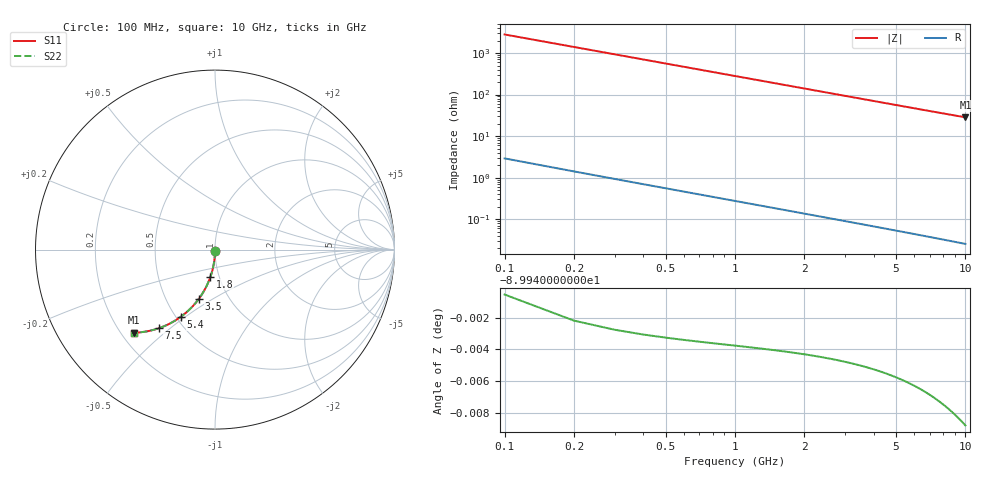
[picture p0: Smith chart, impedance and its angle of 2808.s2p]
# Hz S RI R 50.00
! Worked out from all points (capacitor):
!   100 points, 100 MHz to 10 GHz, reference 50 ohm
!   read as one part in shunt: C = 568 fF near 100 MHz
!   lowest |Z| = 28.3 ohm at 10 GHz (marker M1)
!   S11 on the Smith chart (normalised r, x): 100 MHz: 1.00, -0.02; 1.8 GHz: 0.91, -0.28; 3.5 GHz: 0.73, -0.43; 5.4 GHz: 0.53, -0.48; 7.5 GHz: 0.37, -0.46; 10 GHz: 0.25, -0.40
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1e8  1e-05 -0.00859  0.9998 -0.00926  0.9998 -0.00926  1e-05 -0.00859
2e8  -0.000237 -0.0172  0.9996 -0.0185  0.9996 -0.0185  -0.000237 -0.0172
3e8  -0.000643 -0.0258  0.9992 -0.0278  0.9992 -0.0278  -0.000643 -0.0258
4e8  -0.00121 -0.0343  0.9986 -0.037  0.9986 -0.037  -0.00121 -0.0343
5e8  -0.00193 -0.0429  0.9979 -0.0462  0.9979 -0.0462  -0.00193 -0.0429
6e8  -0.00281 -0.0514  0.997 -0.0554  0.997 -0.0554  -0.00281 -0.0514
8e8  -0.00504 -0.0684  0.9947 -0.0738  0.9947 -0.0738  -0.00504 -0.0684
1.1e9  -0.00954 -0.0936  0.9902 -0.101  0.9902 -0.101  -0.00954 -0.0936
1.4e9  -0.0154 -0.1185  0.9843 -0.1279  0.9843 -0.1279  -0.0154 -0.1185
1.8e9  -0.0253 -0.1508  0.9745 -0.1629  0.9745 -0.1629  -0.0253 -0.1508
2.1e9  -0.0341 -0.1743  0.9656 -0.1884  0.9656 -0.1884  -0.0341 -0.1743
2.5e9  -0.0477 -0.2046  0.952 -0.2214  0.952 -0.2214  -0.0477 -0.2046
2.9e9  -0.0632 -0.2334  0.9364 -0.2529  0.9364 -0.2529  -0.0632 -0.2334
3.4e9  -0.0849 -0.2672  0.9146 -0.2901  0.9146 -0.2901  -0.0849 -0.2672
3.5e9  -0.0896 -0.2736  0.91 -0.2972  0.91 -0.2972  -0.0896 -0.2736
4.3e9  -0.1295 -0.3211  0.8698 -0.3501  0.8698 -0.3501  -0.1295 -0.3211
5.1e9  -0.1735 -0.3613  0.8257 -0.3957  0.8257 -0.3957  -0.1735 -0.3613
5.4e9  -0.1906 -0.3744  0.8085 -0.4109  0.8085 -0.4109  -0.1906 -0.3744
6.7e9  -0.267 -0.4195  0.7317 -0.465  0.7317 -0.465  -0.267 -0.4195
7.5e9  -0.3141 -0.4384  0.6843 -0.4895  0.6843 -0.4895  -0.3141 -0.4384
8.4e9  -0.3658 -0.4527  0.6323 -0.5101  0.6323 -0.5101  -0.3658 -0.4527
1e10  -0.4515 -0.4628  0.5459 -0.5317  0.5459 -0.5317  -0.4515 -0.4628
